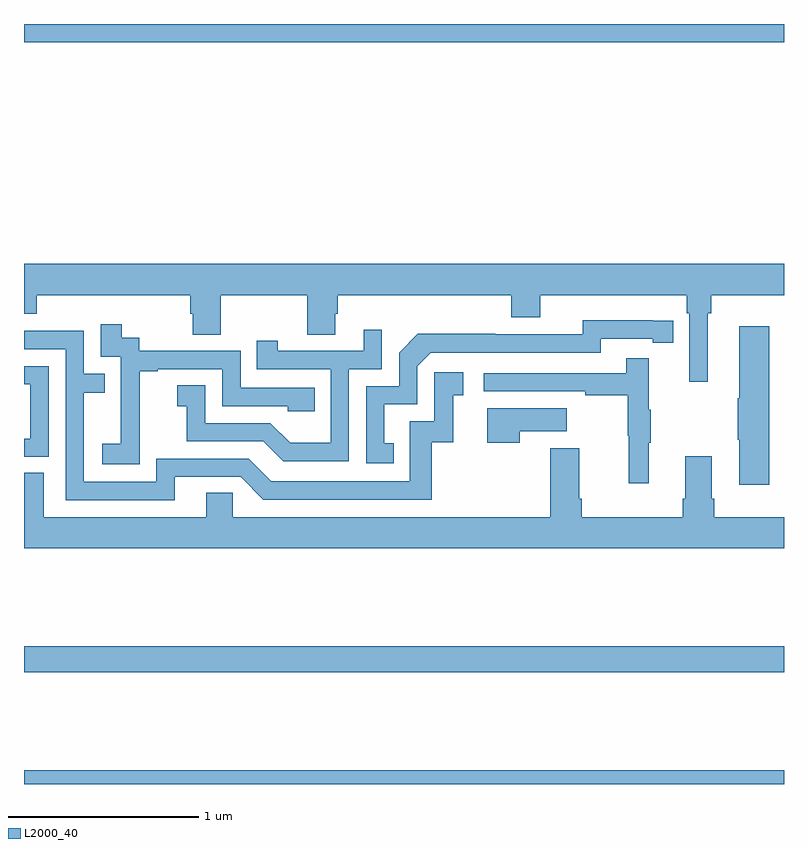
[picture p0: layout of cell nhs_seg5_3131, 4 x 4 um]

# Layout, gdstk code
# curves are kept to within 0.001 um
import gdstk
lib = gdstk.Library(unit=1e-6, precision=1e-09)
def R(c, l, rs):  # rectangles x0, y0, x1, y1
    for r in rs: c.add(gdstk.rectangle(r[:2], r[2:], *l))
def P(c, l, *ps):  # polygons
    for p in ps: c.add(gdstk.Polygon(p, *l))
L2000_40 = (2000, 40)

nhs_seg5_3131 = lib.new_cell('nhs_seg5_3131')
R(nhs_seg5_3131, L2000_40, [(291,908.799,295,908.872), (291,909.388,295,909.524), (291,912.704,295,912.799)])
P(nhs_seg5_3131, L2000_40, [(294.598,911.276),(294.617,911.276),(294.617,911.372),(295,911.372),(295,911.536),(291,911.536),(291,911.273),(291.068,911.273),(291.068,911.372),(291.875,911.372),(291.875,911.274),(291.887,911.274),(291.887,911.164),(292.035,911.164),(292.035,911.372),(292.492,911.372),(292.492,911.164),(292.639,911.164),(292.639,911.274),(292.652,911.274),(292.652,911.372),(293.564,911.372),(293.564,911.255),(293.716,911.255),(293.716,911.372),(294.488,911.372),(294.488,911.276),(294.501,911.276),(294.501,910.917),(294.598,910.917)],
  [(292.946,910.593),(292.897,910.593),(292.897,910.797),(293.07,910.797),(293.07,910.998),(293.142,911.07),(294.036,911.07),(294.036,911.142),(294.308,911.142),(294.308,911.122),(294.416,911.122),(294.416,911.238),(293.94,911.239),(293.94,911.166),(293.48,911.166),(293.48,911.168),(293.072,911.168),(292.974,911.07),(292.974,910.893),(292.8,910.893),(292.8,910.488),(292.946,910.488)],
  [(291.609,910.687),(291.608,910.687),(291.608,910.971),(291.703,910.971),(291.703,910.983),(292.044,910.983),(292.044,910.788),(292.389,910.788),(292.389,910.761),(292.529,910.761),(292.529,910.884),(292.14,910.884),(292.14,911.079),(291.606,911.079),(291.606,911.148),(291.514,911.148),(291.514,911.218),(291.405,911.218),(291.405,911.049),(291.51,911.049),(291.51,910.82),(291.509,910.82),(291.509,910.591),(291.411,910.591),(291.411,910.481),(291.609,910.481)],
  [(294.923,911.209),(294.764,911.209),(294.764,910.829),(294.757,910.829),(294.757,910.612),(294.764,910.612),(294.764,910.374),(294.923,910.374)],
  [(292.71,910.983),(292.884,910.983),(292.884,911.191),(292.787,911.191),(292.787,911.079),(292.336,911.079),(292.336,911.131),(292.225,911.131),(292.225,910.983),(292.614,910.983),(292.614,910.594),(292.4,910.594),(292.296,910.698),(291.954,910.698),(291.954,910.897),(291.807,910.897),(291.807,910.787),(291.856,910.787),(291.856,910.602),(292.259,910.602),(292.364,910.497),(292.71,910.497)],
  [(291.793,910.416),(292.14,910.416),(292.26,910.296),(293.147,910.296),(293.147,910.599),(293.258,910.599),(293.258,910.845),(293.311,910.845),(293.311,910.966),(293.16,910.966),(293.16,910.707),(293.031,910.707),(293.031,910.392),(292.302,910.392),(292.182,910.512),(291.696,910.512),(291.696,910.389),(291.315,910.389),(291.315,910.858),(291.425,910.858),(291.425,910.959),(291.315,910.959),(291.315,911.184),(291,911.184),(291,911.088),(291.219,911.088),(291.219,910.293),(291.793,910.293)],
  [(294.287,910.595),(294.298,910.595),(294.298,910.769),(294.287,910.769),(294.287,911.041),(294.169,911.041),(294.169,910.962),(293.421,910.962),(293.421,910.866),(293.953,910.866),(293.953,910.846),(294.177,910.846),(294.177,910.632),(294.184,910.632),(294.184,910.383),(294.287,910.383)],
  [(291.129,910.998),(291,910.998),(291,910.902),(291.033,910.902),(291.033,910.617),(291,910.617),(291,910.521),(291.129,910.521)],
  [(293.609,910.655),(293.857,910.655),(293.857,910.777),(293.438,910.777),(293.438,910.596),(293.609,910.596)],
  [(295,910.204),(294.632,910.204),(294.632,910.3),(294.619,910.3),(294.619,910.525),(294.479,910.525),(294.479,910.3),(294.467,910.3),(294.467,910.204),(293.936,910.204),(293.936,910.3),(293.923,910.3),(293.923,910.567),(293.771,910.567),(293.771,910.204),(292.098,910.204),(292.098,910.331),(291.959,910.331),(291.959,910.204),(291.103,910.204),(291.103,910.436),(291,910.436),(291,910.04),(295,910.04)])

lib.write_gds('nhs_seg5_3131.gds')
